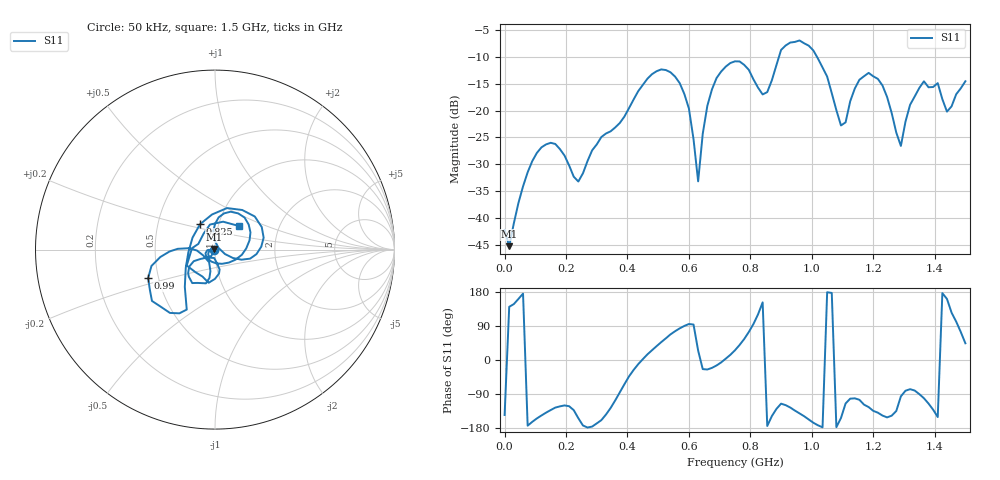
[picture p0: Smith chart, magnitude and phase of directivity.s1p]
! Created with skrf 1.8.0 (http://scikit-rf.org).
# Hz S RI R 50.0
!freq ReS11 ImS11
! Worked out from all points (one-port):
!   101 points, 50 kHz to 1.5 GHz, reference 50 ohm
!   lowest |S11| = -45.3 dB at 15.05 MHz (marker M1), VSWR 1.01, Z = 49.6 + j0.344 ohm
!   |S11| at or under -10 dB: start of sweep to 892.8 MHz; 1.017 GHz to end of sweep
!   S11 on the Smith chart (normalised r, x): 50 kHz: 0.99, -0.01; 825 MHz: 0.82, +0.24; 990 MHz: 0.44, -0.17; 1.5 GHz: 1.26, +0.34
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50000  -0.00631 -0.00439
1.50495e7  -0.00418 0.00347
1.050465e8  -0.0363 -0.0176
1.950435e8  -0.019 -0.0331
2.40042e8  -0.0195 -0.0097
3.750375e8  0.00626 -0.0765
4.80034e8  0.1976 0.0959
5.70031e8  0.0205 0.1798
6.0003e8  -0.00912 0.1043
6.30029e8  0.0198 0.00923
6.450285e8  0.0556 -0.0248
6.750275e8  0.1478 -0.0562
7.50025e8  0.2604 0.1256
8.250225e8  -0.0833 0.1415
8.550215e8  -0.1484 -0.0152
9.0002e8  -0.1575 -0.3342
9.450185e8  -0.3021 -0.3183
9.90017e8  -0.3726 -0.1585
1.050015e9  -0.2081 0.00427
1.095014e9  -0.0649 -0.033
1.125012e9  -0.0255 -0.1197
1.155012e9  -0.0505 -0.1879
1.21501e9  -0.1496 -0.1301
1.290007e9  -0.00481 -0.0466
1.320006e9  0.0256 -0.1107
1.410003e9  -0.1576 -0.0889
1.440002e9  -0.0928 0.0316
1.5e9  0.1354 0.1309
